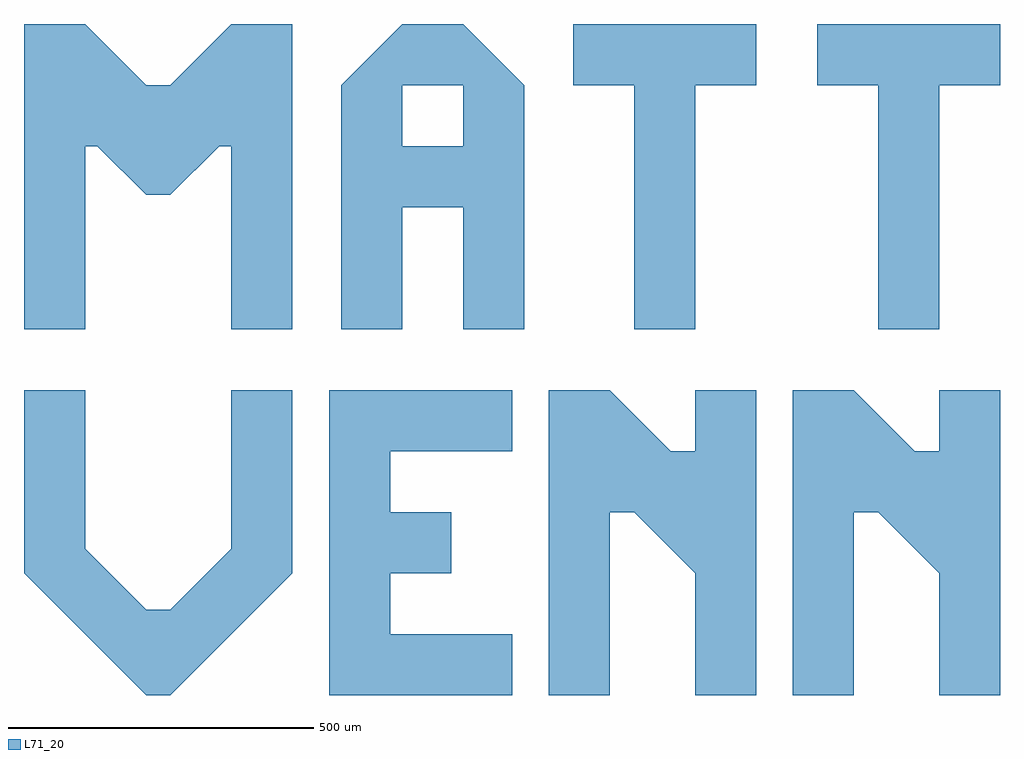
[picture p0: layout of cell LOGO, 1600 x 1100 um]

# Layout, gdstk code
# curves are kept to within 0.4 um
import gdstk
lib = gdstk.Library(unit=1e-6, precision=1e-09)
def P(c, l, *ps):  # polygons
    for p in ps: c.add(gdstk.Polygon(p, *l))
L71_20 = (71, 20)

logo = lib.new_cell('LOGO')
P(logo, L71_20, [(3600,-10200),(3600,-9700),(3700,-9700),(3800,-9800),(3840,-9800),(3940,-9700),(4040,-9700),(4040,-10200),(3940,-10200),(3940,-9900),(3920,-9900),(3840,-9980),(3800,-9980),(3720,-9900),(3700,-9900),(3700,-10200)],
  [(4120,-10200),(4120,-9800),(4220,-9700),(4320,-9700),(4420,-9800),(4420,-10200),(4320,-10200),(4320,-9800),(4220,-9800),(4220,-9900),(4320,-9900),(4320,-10000),(4220,-10000),(4220,-10200)],
  [(4500,-9800),(4500,-9700),(4800,-9700),(4800,-9800),(4700,-9800),(4700,-10200),(4600,-10200),(4600,-9800)],
  [(4900,-9800),(4900,-9700),(5200,-9700),(5200,-9800),(5100,-9800),(5100,-10200),(5000,-10200),(5000,-9800)],
  [(3600,-10300),(3700,-10300),(3700,-10560),(3800,-10660),(3840,-10660),(3940,-10560),(3940,-10300),(4040,-10300),(4040,-10600),(3840,-10800),(3800,-10800),(3600,-10600)],
  [(4100,-10300),(4400,-10300),(4400,-10400),(4200,-10400),(4200,-10500),(4300,-10500),(4300,-10600),(4200,-10600),(4200,-10700),(4400,-10700),(4400,-10800),(4100,-10800)],
  [(4460,-10800),(4460,-10300),(4560,-10300),(4660,-10400),(4700,-10400),(4700,-10300),(4800,-10300),(4800,-10800),(4700,-10800),(4700,-10600),(4600,-10500),(4560,-10500),(4560,-10800)],
  [(4860,-10800),(4860,-10300),(4960,-10300),(5060,-10400),(5100,-10400),(5100,-10300),(5200,-10300),(5200,-10800),(5100,-10800),(5100,-10600),(5000,-10500),(4960,-10500),(4960,-10800)])

lib.write_gds('LOGO.gds')
